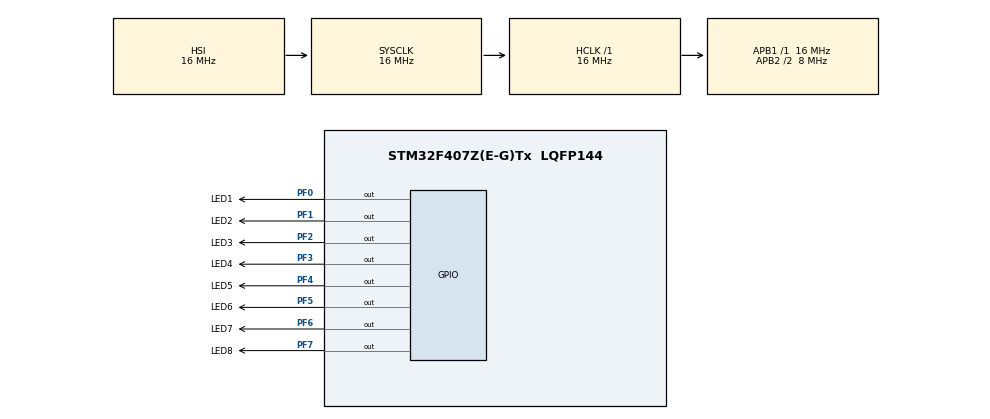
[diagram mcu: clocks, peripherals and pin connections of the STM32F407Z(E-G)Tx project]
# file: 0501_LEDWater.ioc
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Mcu.Family=STM32F4
Mcu.Name=STM32F407Z(E-G)Tx
Mcu.Package=LQFP144
NVIC.PriorityGroup=NVIC_PRIORITYGROUP_4
PA13.Mode=Serial_Wire
PA13.Signal=SYS_JTMS-SWDIO
PA14.Mode=Serial_Wire
PA14.Signal=SYS_JTCK-SWCLK
PC14-OSC32_IN.Mode=LSE-External-Oscillator
PC14-OSC32_IN.Signal=RCC_OSC32_IN
PC15-OSC32_OUT.Mode=LSE-External-Oscillator
PC15-OSC32_OUT.Signal=RCC_OSC32_OUT
PF0.GPIO_Label=LED1
PF0.PinState=GPIO_PIN_SET
PF0.Signal=GPIO_Output
PF1.GPIO_Label=LED2
PF1.PinState=GPIO_PIN_SET
PF1.Signal=GPIO_Output
PF2.GPIO_Label=LED3
PF2.PinState=GPIO_PIN_SET
PF2.Signal=GPIO_Output
PF3.GPIO_Label=LED4
PF3.PinState=GPIO_PIN_SET
PF3.Signal=GPIO_Output
PF4.GPIO_Label=LED5
PF4.PinState=GPIO_PIN_SET
PF4.Signal=GPIO_Output
PF5.GPIO_Label=LED6
PF5.PinState=GPIO_PIN_SET
PF5.Signal=GPIO_Output
PF6.GPIO_Label=LED7
PF6.PinState=GPIO_PIN_SET
PF6.Signal=GPIO_Output
PF7.GPIO_Label=LED8
PF7.PinState=GPIO_PIN_SET
PF7.Signal=GPIO_Output
PH0-OSC_IN.Mode=HSE-External-Oscillator
PH0-OSC_IN.Signal=RCC_OSC_IN
PH1-OSC_OUT.Mode=HSE-External-Oscillator
PH1-OSC_OUT.Signal=RCC_OSC_OUT
ProjectManager.HeapSize=0x200
ProjectManager.StackSize=0x400
ProjectManager.TargetToolchain=STM32CubeIDE
RCC.48MHZClocksFreq_Value=84000000
RCC.AHBFreq_Value=16000000
RCC.APB1Freq_Value=16000000
RCC.APB2CLKDivider=RCC_HCLK_DIV2
RCC.APB2Freq_Value=8000000
RCC.APB2TimFreq_Value=16000000
RCC.CortexFreq_Value=16000000
RCC.HSE_VALUE=8000000
RCC.HSI_VALUE=16000000
RCC.PLLM=4
RCC.PLLN=168
RCC.PLLSourceVirtual=RCC_PLLSOURCE_HSE
RCC.SYSCLKFreq_VALUE=16000000
RCC.VCOOutputFreq_Value=336000000
board=custom

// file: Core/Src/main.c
/* USER CODE BEGIN Header */
/**
  ******************************************************************************
  * @file           : main.c
  * @brief          : Main program body
  ******************************************************************************
  * @attention
  *
  * Copyright (c) 2026 STMicroelectronics.
  * All rights reserved.
  *
  * This software is licensed under terms that can be found in the LICENSE file
  * in the root directory of this software component.
  * If no LICENSE file comes with this software, it is provided AS-IS.
  *
  ******************************************************************************
  */
/* USER CODE END Header */
#include "main.h"
#include "gpio.h"

void SystemClock_Config(void);

int main(void)
{

  /* MCU Configuration--------------------------------------------------------*/

  /* Reset of all peripherals, Initializes the Flash interface and the Systick. */
  HAL_Init();

  /* Configure the system clock */
  SystemClock_Config();

  /* Initialize all configured peripherals */
  MX_GPIO_Init();

  /* Infinite loop */
  /* USER CODE BEGIN WHILE */
  while (1)
  {
    /* USER CODE BEGIN WHILE */

    HAL_GPIO_WritePin(GPIOF, GPIO_PIN_0, GPIO_PIN_RESET);
    HAL_Delay(800);
    HAL_GPIO_WritePin(GPIOF, GPIO_PIN_0, GPIO_PIN_SET);

    HAL_GPIO_WritePin(GPIOF, GPIO_PIN_1, GPIO_PIN_RESET);
    HAL_Delay(800);
    HAL_GPIO_WritePin(GPIOF, GPIO_PIN_1, GPIO_PIN_SET);

    HAL_GPIO_WritePin(GPIOF, GPIO_PIN_2, GPIO_PIN_RESET);
    HAL_Delay(800);
    HAL_GPIO_WritePin(GPIOF, GPIO_PIN_2, GPIO_PIN_SET);

    HAL_GPIO_WritePin(GPIOF, GPIO_PIN_3, GPIO_PIN_RESET);
    HAL_Delay(800);
    HAL_GPIO_WritePin(GPIOF, GPIO_PIN_3, GPIO_PIN_SET);

    HAL_GPIO_WritePin(GPIOF, GPIO_PIN_4, GPIO_PIN_RESET);
    HAL_Delay(800);
    HAL_GPIO_WritePin(GPIOF, GPIO_PIN_4, GPIO_PIN_SET);

    HAL_GPIO_WritePin(GPIOF, GPIO_PIN_5, GPIO_PIN_RESET);
    HAL_Delay(800);
    HAL_GPIO_WritePin(GPIOF, GPIO_PIN_5, GPIO_PIN_SET);

    HAL_GPIO_WritePin(GPIOF, GPIO_PIN_6, GPIO_PIN_RESET);
    HAL_Delay(800);
    HAL_GPIO_WritePin(GPIOF, GPIO_PIN_6, GPIO_PIN_SET);

    HAL_GPIO_WritePin(GPIOF, GPIO_PIN_7, GPIO_PIN_RESET);
    HAL_Delay(800);
    HAL_GPIO_WritePin(GPIOF, GPIO_PIN_7, GPIO_PIN_SET);

    /* USER CODE END WHILE */

  }
}

void SystemClock_Config(void)
{
  RCC_OscInitTypeDef RCC_OscInitStruct = {0};
  RCC_ClkInitTypeDef RCC_ClkInitStruct = {0};

  /** Configure the main internal regulator output voltage
  */
  __HAL_RCC_PWR_CLK_ENABLE();
  __HAL_PWR_VOLTAGESCALING_CONFIG(PWR_REGULATOR_VOLTAGE_SCALE1);

  /** Initializes the RCC Oscillators according to the specified parameters
  * in the RCC_OscInitTypeDef structure.
  */
  RCC_OscInitStruct.OscillatorType = RCC_OSCILLATORTYPE_HSI;
  RCC_OscInitStruct.HSIState = RCC_HSI_ON;
  RCC_OscInitStruct.HSICalibrationValue = RCC_HSICALIBRATION_DEFAULT;
  RCC_OscInitStruct.PLL.PLLState = RCC_PLL_NONE;
  if (HAL_RCC_OscConfig(&RCC_OscInitStruct) != HAL_OK)
  {
    Error_Handler();
  }

  /** Initializes the CPU, AHB and APB buses clocks
  */
  RCC_ClkInitStruct.ClockType = RCC_CLOCKTYPE_HCLK|RCC_CLOCKTYPE_SYSCLK
                              |RCC_CLOCKTYPE_PCLK1|RCC_CLOCKTYPE_PCLK2;
  RCC_ClkInitStruct.SYSCLKSource = RCC_SYSCLKSOURCE_HSI;
  RCC_ClkInitStruct.AHBCLKDivider = RCC_SYSCLK_DIV1;
  RCC_ClkInitStruct.APB1CLKDivider = RCC_HCLK_DIV1;
  RCC_ClkInitStruct.APB2CLKDivider = RCC_HCLK_DIV2;

  if (HAL_RCC_ClockConfig(&RCC_ClkInitStruct, FLASH_LATENCY_0) != HAL_OK)
  {
    Error_Handler();
  }
}

void Error_Handler(void)
{
  __disable_irq();
  while (1)
  {
  }
}
